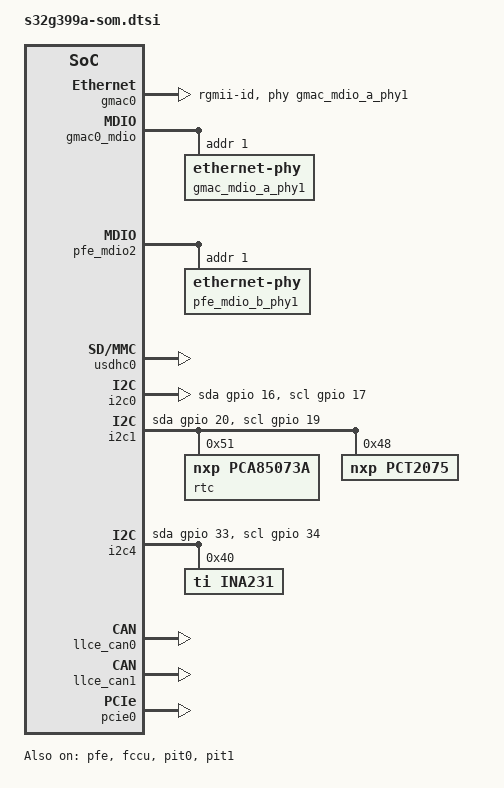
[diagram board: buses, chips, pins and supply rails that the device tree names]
// SPDX-License-Identifier: GPL-2.0-or-later OR BSD-3-Clause
/*
 * Copyright 2024 NXP
 */

#include <dt-bindings/gpio/gpio.h>
#include "s32g3.dtsi"
#include "s32g-nxp-flash-macronix.dtsi"

/ {
	chosen {
		stdout-path = "serial0:115200n8";
	};
};

&timer {
	clock-frequency = <5000000>;
};

&gmac0 {
	status = "okay";
	pinctrl-names = "default";
	pinctrl-0 = <&gmac0rgmiia_pins>, <&gmac0mdioa_pins>;
	phy-handle = <&gmac_mdio_a_phy1>;
	phy-mode = "rgmii-id";
};

&gmac0_mdio {
	/* KSZ9031 GMAC */
	gmac_mdio_a_phy1: ethernet-phy@1 {
		reg = <1>;
	};
};

&pfe {
	status = "okay";
	pinctrl-names = "default";
	pinctrl-0 = <&pfe2mdiob_pins>, <&pfe2rgmiib_pins>;
};

&pfe_mdio0 {
	/* unused */
	status = "disabled";
};

&pfe_mdio1 {
	/* occupied by GMAC0 */
	status = "disabled";
};

&pfe_mdio2 {
	/* TJA1120 */
	pfe_mdio_b_phy1: ethernet-phy@1 {
		reg = <1>;
	};
};

&pfe_netif0 {
	phy-mode = "sgmii";

	fixed-link {
		speed = <1000>;
		full-duplex;
	};
};

&pfe_netif1 {
	phy-mode = "sgmii";

	fixed-link {
		speed = <1000>;
		full-duplex;
	};
};

&pfe_netif2 {
	phy-mode = "rgmii";
	phy-handle = <&pfe_mdio_b_phy1>;

	/*
	 * Workaround for TJA1120.
	 * Will be updated once TJA1120 support
	 * is added.
	 */
	fixed-link {
		speed = <1000>;
		full-duplex;
	};
};

&usdhc0 {
	pinctrl-names = "default", "state_100mhz", "state_200mhz";
	pinctrl-0 = <&sd0_pins_default>;
	pinctrl-1 = <&sd0_pins_100mhz>;
	pinctrl-2 = <&sd0_pins_200mhz>;
	status = "okay";
};

&fccu {
	status = "okay";
};

&pit0 {
	status = "okay";
};

&pit1 {
	status = "okay";
};

&pinctrl {
	gmac0mdioa_pins: gmac0mdioa_pins {
		gmac0mdioa_grp0 {
			pinmux = <S32CC_PINMUX(60, FUNC1)>;
			output-enable;
			slew-rate = <S32CC_FAST_SLEW_166MHZ>;
		};

		gmac0mdioa_grp1 {
			pinmux = <S32CC_PINMUX(61, FUNC1)>;
			output-enable;
			input-enable;
			slew-rate = <S32CC_FAST_SLEW_166MHZ>;
		};

		gmac0mdioa_grp2 {
			pinmux = <S32CC_PINMUX(527, FUNC2)>;
		};
	};

	gmac0rgmiia_pins: gmac0rgmiia_pins {
		gmac0rgmiia_grp0 {
			pinmux = <S32CC_PINMUX(66, FUNC1)>;
			output-enable;
			slew-rate = <S32CC_FAST_SLEW_166MHZ>;
			bias-pull-up;
		};

		gmac0rgmiia_grp1 {
			pinmux = <S32CC_PINMUX(538, FUNC2)>,
				 <S32CC_PINMUX(529, FUNC2)>,
				 <S32CC_PINMUX(530, FUNC2)>,
				 <S32CC_PINMUX(531, FUNC2)>,
				 <S32CC_PINMUX(532, FUNC2)>,
				 <S32CC_PINMUX(533, FUNC2)>,
				 <S32CC_PINMUX(534, FUNC2)>;
		};

		gmac0rgmiia_grp2 {
			pinmux = <S32CC_PINMUX(67, FUNC1)>,
				 <S32CC_PINMUX(68, FUNC1)>,
				 <S32CC_PINMUX(69, FUNC1)>,
				 <S32CC_PINMUX(70, FUNC1)>,
				 <S32CC_PINMUX(71, FUNC1)>;
			output-enable;
			slew-rate = <S32CC_FAST_SLEW_166MHZ>;
		};

		gmac0rgmiia_grp3 {
			pinmux = <S32CC_PINMUX(72, FUNC0)>,
				 <S32CC_PINMUX(73, FUNC0)>,
				 <S32CC_PINMUX(74, FUNC0)>,
				 <S32CC_PINMUX(75, FUNC0)>,
				 <S32CC_PINMUX(76, FUNC0)>,
				 <S32CC_PINMUX(77, FUNC0)>;
			input-enable;
			slew-rate = <S32CC_FAST_SLEW_166MHZ>;
		};
	};

	pfe2mdiob_pins: pfe2mdiob_pins {
		pfe2mdiob_grp0 {
			pinmux = <S32CC_PINMUX(82, FUNC2)>;
			output-enable;
			slew-rate = <S32CC_FAST_SLEW_166MHZ>;
		};

		pfe2mdiob_grp1 {
			pinmux = <S32CC_PINMUX(79, FUNC2)>;
			output-enable;
			input-enable;
			slew-rate = <S32CC_FAST_SLEW_166MHZ>;
		};

		pfe2mdiob_grp2 {
			pinmux = <S32CC_PINMUX(877, FUNC3)>;
		};
	};

	pfe2rgmiib_pins: pfe2rgmiib_pins {
		pfe2rgmiib_grp0 {
			pinmux = <S32CC_PINMUX(78, FUNC2)>,
				 <S32CC_PINMUX(144, FUNC2)>,
				 <S32CC_PINMUX(113, FUNC2)>,
				 <S32CC_PINMUX(114, FUNC2)>,
				 <S32CC_PINMUX(115, FUNC2)>;
			output-enable;
			slew-rate = <S32CC_FAST_SLEW_166MHZ>;
		};

		pfe2rgmiib_grp1 {
			pinmux = <S32CC_PINMUX(116, FUNC0)>,
				 <S32CC_PINMUX(117, FUNC0)>,
				 <S32CC_PINMUX(118, FUNC0)>,
				 <S32CC_PINMUX(119, FUNC0)>,
				 <S32CC_PINMUX(120, FUNC0)>,
				 <S32CC_PINMUX(121, FUNC0)>;
			input-enable;
			slew-rate = <S32CC_FAST_SLEW_166MHZ>;
		};

		pfe2rgmiib_grp2 {
			pinmux = <S32CC_PINMUX(879, FUNC3)>,
				 <S32CC_PINMUX(885, FUNC3)>,
				 <S32CC_PINMUX(881, FUNC3)>,
				 <S32CC_PINMUX(882, FUNC3)>,
				 <S32CC_PINMUX(883, FUNC3)>,
				 <S32CC_PINMUX(884, FUNC3)>,
				 <S32CC_PINMUX(886, FUNC3)>;
		};

		pfe2rgmiib_grp3 {
			pinmux = <S32CC_PINMUX(122, FUNC2)>;
			output-enable;
			slew-rate = <S32CC_FAST_SLEW_166MHZ>;
			bias-pull-up;
		};
	};

	i2c0_pins: i2c0_pins {
		i2c0_grp0 {
			pinmux = <S32CC_PINMUX(16, FUNC1)>;
			drive-open-drain;
			output-enable;
			input-enable;
			slew-rate = <S32CC_GPIO_3V3_SLEW_50MHZ>;
		};

		i2c0_grp1 {
			pinmux = <S32CC_PINMUX(565, FUNC2)>,
				 <S32CC_PINMUX(566, FUNC2)>;
		};

		i2c0_grp2 {
			pinmux = <S32CC_PINMUX(17, FUNC1)>;
			drive-open-drain;
			output-enable;
			input-enable;
			slew-rate = <S32CC_GPIO_3V3_SLEW_50MHZ>;
		};
	};

	i2c0_gpio_pins: i2c0_gpio_pins {
		i2c0_gpio_grp0 {
			pinmux = <S32CC_PINMUX(16, FUNC0)>,
				 <S32CC_PINMUX(17, FUNC0)>;
			drive-open-drain;
			output-enable;
			slew-rate = <S32CC_GPIO_3V3_SLEW_50MHZ>;
		};

		i2c0_gpio_grp1 {
			pinmux = <S32CC_PINMUX(565, FUNC0)>,
				 <S32CC_PINMUX(566, FUNC0)>;
		};
	};

	i2c1_pins: i2c1_pins {
		i2c1_grp0 {
			pinmux = <S32CC_PINMUX(19, FUNC1)>,
				 <S32CC_PINMUX(20, FUNC1)>;
			drive-open-drain;
			output-enable;
			input-enable;
			slew-rate = <S32CC_GPIO_3V3_SLEW_50MHZ>;
		};

		i2c1_grp1 {
			pinmux = <S32CC_PINMUX(717, FUNC2)>;
		};

		i2c1_grp2 {
			pinmux = <S32CC_PINMUX(718, FUNC2)>;
		};
	};

	i2c1_gpio_pins: i2c1_gpio_pins {
		i2c1_gpio_grp0 {
			pinmux = <S32CC_PINMUX(19, FUNC0)>,
				 <S32CC_PINMUX(20, FUNC0)>;
			drive-open-drain;
			output-enable;
			slew-rate = <S32CC_GPIO_3V3_SLEW_50MHZ>;
		};

		i2c1_gpio_grp1 {
			pinmux = <S32CC_PINMUX(717, FUNC0)>,
				 <S32CC_PINMUX(718, FUNC0)>;
		};
	};

	i2c2_pins: i2c2_pins {
		i2c2_grp0 {
			pinmux = <S32CC_PINMUX(21, FUNC1)>,
				 <S32CC_PINMUX(22, FUNC1)>;
			drive-open-drain;
			output-enable;
			input-enable;
			slew-rate = <S32CC_GPIO_3V3_SLEW_50MHZ>;
		};

		i2c2_grp1 {
			pinmux = <S32CC_PINMUX(719, FUNC2)>,
				 <S32CC_PINMUX(720, FUNC2)>;
		};
	};

	i2c2_gpio_pins: i2c2_gpio_pins {
		i2c2_gpio_grp0 {
			pinmux = <S32CC_PINMUX(719, FUNC0)>,
				 <S32CC_PINMUX(720, FUNC0)>;
		};

		i2c2_gpio_grp1 {
			pinmux = <S32CC_PINMUX(21, FUNC0)>,
				 <S32CC_PINMUX(22, FUNC0)>;
			drive-open-drain;
			output-enable;
			slew-rate = <S32CC_GPIO_3V3_SLEW_50MHZ>;
		};
	};

	i2c4_pins: i2c4_pins {
		i2c4_grp0 {
			pinmux = <S32CC_PINMUX(33, FUNC1)>;
			drive-open-drain;
			output-enable;
			input-enable;
			slew-rate = <S32CC_GPIO_3V3_SLEW_50MHZ>;
		};

		i2c4_grp1 {
			pinmux = <S32CC_PINMUX(724, FUNC3)>,
				 <S32CC_PINMUX(723, FUNC3)>;
		};

		i2c4_grp2 {
			pinmux = <S32CC_PINMUX(34, FUNC2)>;
			drive-open-drain;
			output-enable;
			input-enable;
			slew-rate = <S32CC_GPIO_3V3_SLEW_50MHZ>;
		};
	};

	i2c4_gpio_pins: i2c4_gpio_pins {
		i2c4_gpio_grp0 {
			pinmux = <S32CC_PINMUX(33, FUNC0)>,
				 <S32CC_PINMUX(34, FUNC0)>;
			drive-open-drain;
			output-enable;
			slew-rate = <S32CC_GPIO_3V3_SLEW_50MHZ>;
		};

		i2c4_gpio_grp1 {
			pinmux = <S32CC_PINMUX(724, FUNC0)>,
				 <S32CC_PINMUX(723, FUNC0)>;
		};
	};

	uart0_pins: uart0_pins {
		uart0_pins_grp0 {
			pinmux = <S32CC_PINMUX(41, FUNC1)>;
			output-enable;
			slew-rate = <S32CC_GPIO_3V3_SLEW_50MHZ>;
		};

		uart0_pins_grp1 {
			pinmux = <S32CC_PINMUX(42, FUNC0)>;
			input-enable;
			slew-rate = <S32CC_GPIO_3V3_SLEW_50MHZ>;
		};

		uart0_pins_grp2 {
			pinmux = <S32CC_PINMUX(512, FUNC2)>;
		};
	};
};

&i2c0 {
	pinctrl-names = "default", "gpio";
	pinctrl-0 = <&i2c0_pins>;
	pinctrl-1 = <&i2c0_gpio_pins>;
	scl-gpios = <&gpio 17 (GPIO_ACTIVE_HIGH | GPIO_OPEN_DRAIN)>;
	sda-gpios = <&gpio 16 (GPIO_ACTIVE_HIGH | GPIO_OPEN_DRAIN)>;
	status = "okay";
};

&i2c1 {
	pinctrl-names = "default", "gpio";
	pinctrl-0 = <&i2c1_pins>;
	pinctrl-1 = <&i2c1_gpio_pins>;
	scl-gpios = <&gpio 19 (GPIO_ACTIVE_HIGH | GPIO_OPEN_DRAIN)>;
	sda-gpios = <&gpio 20 (GPIO_ACTIVE_HIGH | GPIO_OPEN_DRAIN)>;
	status = "okay";

	rtc@51 {
		compatible = "nxp,pca85073a";
		reg = <0x51>;
		nxp,no-battery;
	};

	pct2075@48 {
		compatible = "nxp,pct2075";
		reg = <0x48>;
	};
};

&i2c2 {
	pinctrl-names = "default", "gpio";
	pinctrl-0 = <&i2c2_pins>;
	pinctrl-1 = <&i2c2_gpio_pins>;
	scl-gpios = <&gpio 21 (GPIO_ACTIVE_HIGH | GPIO_OPEN_DRAIN)>;
	sda-gpios = <&gpio 22 (GPIO_ACTIVE_HIGH | GPIO_OPEN_DRAIN)>;
	status = "disabled";
};

&i2c4 {
	pinctrl-names = "default", "gpio";
	pinctrl-0 = <&i2c4_pins>;
	pinctrl-1 = <&i2c4_gpio_pins>;
	scl-gpios = <&gpio 34 (GPIO_ACTIVE_HIGH | GPIO_OPEN_DRAIN)>;
	sda-gpios = <&gpio 33 (GPIO_ACTIVE_HIGH | GPIO_OPEN_DRAIN)>;
	status = "okay";

	ina231@40 {
		compatible = "ti,ina231";
		reg = <0x40>;
		shunt-resistor = <1000>;
	};
};

/*
 * LLCE CAN 0 is connected to the JP1 connector
 * available on the S32G3-VC-SOM board.
 */
&llce_can0 {
	status = "okay";
};

/*
 * LLCE CAN 1 is connected to the JP1 connector
 * available on the S32G3-VC-SOM board.
 */
&llce_can1 {
	status = "okay";
};

&llce_can2 {
	status = "disabled";
};

&llce_can3 {
	status = "disabled";
};

&llce_can4 {
	status = "disabled";
};

&llce_can5 {
	status = "disabled";
};

&llce_can6 {
	status = "disabled";
};

&llce_can7 {
	status = "disabled";
};

&llce_can8 {
	status = "disabled";
};

&llce_can9 {
	status = "disabled";
};

&llce_can10 {
	status = "disabled";
};

&llce_can11 {
	status = "disabled";
};

&llce_can12 {
	status = "disabled";
};

&llce_can13 {
	status = "disabled";
};

&llce_can14 {
	status = "disabled";
};

&llce_can15 {
	status = "disabled";
};

&uart0 {
	pinctrl-0 = <&uart0_pins>;
	pinctrl-names = "default";
};

&pcie0 {
	status = "okay";
};
